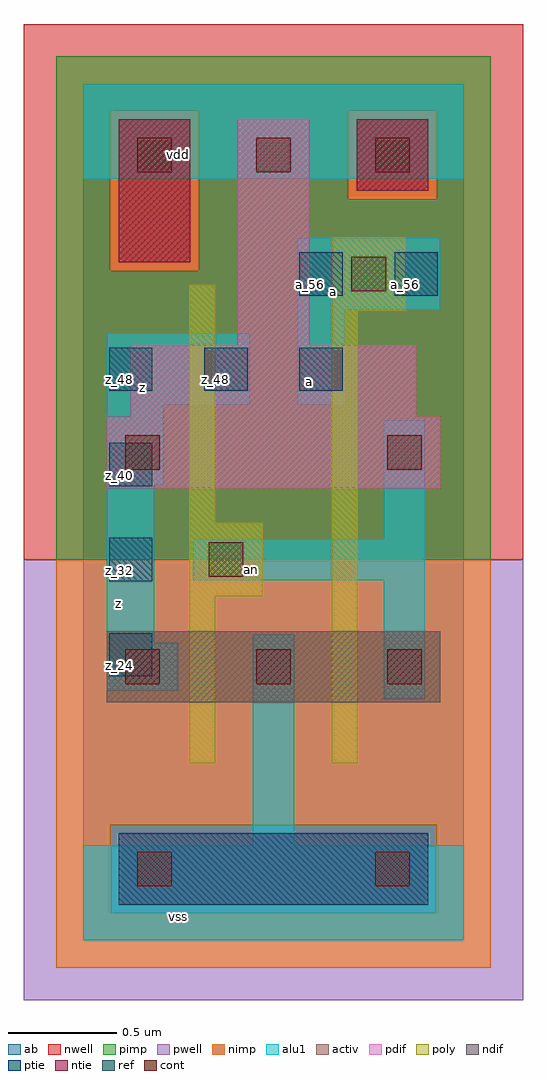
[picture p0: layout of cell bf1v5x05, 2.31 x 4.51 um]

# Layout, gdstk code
import gdstk
lib = gdstk.Library(unit=1e-6, precision=2.5e-09)
def R(c, l, rs):  # rectangles x0, y0, x1, y1
    for r in rs: c.add(gdstk.rectangle(r[:2], r[2:], *l))
def A(c, l, x, y, w, h, nx, ny, dx, dy):  # array of equal rectangles
    R(c, l, [(x+i*dx, y+j*dy, x+i*dx+w, y+j*dy+h) for i in range(nx) for j in range(ny)])
ndif = (3, 0)
pdif = (4, 0)
ntie = (5, 0)
ptie = (6, 0)
ref = (24, 0)
cont = (25, 0)
pwell = (41, 0)
nwell = (42, 0)
activ = (43, 0)
pimp = (44, 0)
nimp = (45, 0)
poly = (46, 0)
alu1 = (49, 0)
ab = (63, 0)

bf1v5x05 = lib.new_cell('bf1v5x05')
R(bf1v5x05, ndif, [(0.11,1.1,1.65,1.43)])
R(bf1v5x05, pdif, [(0.11,2.09,1.65,2.42), (0.22,2.42,1.54,2.75), (0.715,2.75,1.045,3.795)])
R(bf1v5x05, ntie, [(0.165,3.135,0.495,3.795), (1.265,3.465,1.595,3.795)])
R(bf1v5x05, ptie, [(0.165,0.165,1.595,0.495)])
A(bf1v5x05, ref, 0.12, 1.22, 0.2, 0.2, 1, 3, 0, 0.44)
A(bf1v5x05, ref, 0.12, 2.54, 0.2, 0.2, 3, 1, 0.44, 0)
R(bf1v5x05, ref, [(1,2.98,1.2,3.18), (1.44,2.98,1.64,3.18)])
A(bf1v5x05, cont, 0.195, 1.185, 0.16, 0.16, 3, 1, 0.605, 0)
A(bf1v5x05, cont, 0.25, 3.55, 0.16, 0.16, 3, 1, 0.55, 0)
R(bf1v5x05, cont, [(0.25,0.25,0.41,0.41), (1.35,0.25,1.51,0.41), (0.58,1.68,0.74,1.84), (0.195,2.175,0.355,2.335), (1.405,2.175,1.565,2.335), (1.24,3,1.4,3.16)])
R(bf1v5x05, pwell, [(-0.275,-0.275,2.035,1.76)])
R(bf1v5x05, nwell, [(-0.275,1.76,2.035,4.235)])
R(bf1v5x05, activ, [(0.165,0.165,1.595,0.495), (0.11,1.1,1.65,1.43), (0.11,2.09,1.65,2.42), (0.22,2.42,1.54,2.75), (0.715,2.75,1.045,3.795), (0.165,3.135,0.495,3.795), (1.265,3.465,1.595,3.795)])
R(bf1v5x05, pimp, [(0.125,0.125,1.635,0.535), (-0.125,1.76,1.885,3.095), (-0.125,3.095,0.125,3.835), (0.535,3.095,1.885,3.425), (0.535,3.425,1.225,3.835), (1.635,3.425,1.885,3.835), (-0.125,3.835,1.885,4.085)])
R(bf1v5x05, nimp, [(-0.125,-0.125,1.885,0.125), (-0.125,0.125,0.125,0.535), (1.635,0.125,1.885,0.535), (-0.125,0.535,1.885,1.76), (0.125,3.095,0.535,3.835), (1.225,3.425,1.635,3.835)])
R(bf1v5x05, poly, [(0.49,0.82,0.61,1.59), (1.15,0.82,1.27,2.91), (0.49,1.59,0.83,1.93), (0.49,1.93,0.61,3.03), (1.15,2.91,1.49,3.25)])
R(bf1v5x05, alu1, [(0,0,1.76,0.44), (0.785,0.44,0.975,1.415), (1.39,1.115,1.58,1.665), (0.11,1.155,0.44,1.375), (0.11,1.375,0.33,2.105), (0.51,1.665,1.58,1.855), (1.39,1.855,1.58,2.405), (0.11,2.105,0.37,2.475), (0.11,2.475,0.77,2.805), (0.99,2.475,1.21,2.915), (0.99,2.915,1.65,3.245), (0,3.52,1.76,3.96)])
R(bf1v5x05, ab, [(0,0,1.76,3.96)])
bf1v5x05.add(gdstk.Label('vss', (0.44,0.11), layer=49, texttype=0))
bf1v5x05.add(gdstk.Label('an', (0.7775,1.7125), layer=49, texttype=0))
bf1v5x05.add(gdstk.Label('z', (0.165,1.5575), layer=49, texttype=0))
bf1v5x05.add(gdstk.Label('a', (1.045,2.585), layer=49, texttype=0))
bf1v5x05.add(gdstk.Label('z', (0.275,2.5575), layer=49, texttype=0))
bf1v5x05.add(gdstk.Label('a', (1.155,2.9975), layer=49, texttype=0))
bf1v5x05.add(gdstk.Label('vdd', (0.44,3.63), layer=49, texttype=0))
bf1v5x05.add(gdstk.Label('z_48', (0.61,2.59), layer=24, texttype=0))
bf1v5x05.add(gdstk.Label('a_48', (1.05,2.59), layer=24, texttype=0))
bf1v5x05.add(gdstk.Label('a_56', (1.05,3.03), layer=24, texttype=0))
bf1v5x05.add(gdstk.Label('a_56', (1.49,3.03), layer=24, texttype=0))
bf1v5x05.add(gdstk.Label('z_24', (0.17,1.27), layer=24, texttype=0))
bf1v5x05.add(gdstk.Label('z_32', (0.17,1.71), layer=24, texttype=0))
bf1v5x05.add(gdstk.Label('z_40', (0.17,2.15), layer=24, texttype=0))
bf1v5x05.add(gdstk.Label('z_48', (0.17,2.59), layer=24, texttype=0))

lib.write_gds('bf1v5x05.gds')
